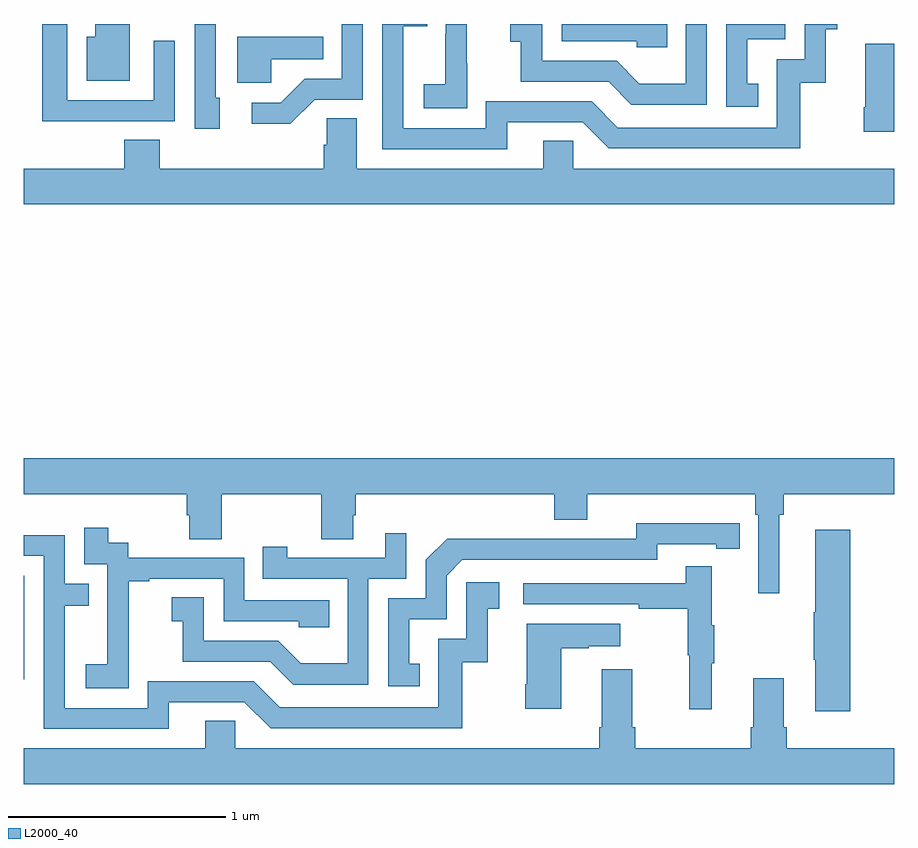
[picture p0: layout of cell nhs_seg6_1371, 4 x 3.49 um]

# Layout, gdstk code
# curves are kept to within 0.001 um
import gdstk
lib = gdstk.Library(unit=1e-6, precision=1e-09)
def R(c, l, rs):  # rectangles x0, y0, x1, y1
    for r in rs: c.add(gdstk.rectangle(r[:2], r[2:], *l))
def P(c, l, *ps):  # polygons
    for p in ps: c.add(gdstk.Polygon(p, *l))
L2000_40 = (2000, 40)

nhs_seg6_1371 = lib.new_cell('nhs_seg6_1371')
R(nhs_seg6_1371, L2000_40, [(195,942.489,195.003,942.966), (198.849,945.498,199,945.5)])
P(nhs_seg6_1371, L2000_40, [(197.221,945.048),(197.568,945.048),(197.688,944.928),(198.568,944.928),(198.568,945.231),(198.686,945.231),(198.686,945.477),(198.739,945.477),(198.739,945.5),(198.588,945.5),(198.588,945.339),(198.459,945.339),(198.459,945.024),(197.73,945.024),(197.61,945.144),(197.124,945.144),(197.124,945.021),(196.743,945.021),(196.743,945.49),(196.853,945.49),(196.853,945.5),(196.647,945.5),(196.647,944.925),(197.221,944.925)],
  [(195.901,945.162),(195.882,945.162),(195.882,945.466),(195.883,945.466),(195.883,945.5),(195.786,945.5),(195.786,945.018),(195.901,945.018)],
  [(197.957,945.5),(197.472,945.5),(197.472,945.42),(197.817,945.42),(197.817,945.393),(197.957,945.393)],
  [(197.037,945.319),(197.036,945.319),(197.036,945.5),(196.938,945.5),(196.938,945.452),(196.937,945.452),(196.937,945.223),(196.839,945.223),(196.839,945.113),(197.037,945.113)],
  [(196.338,945.153),(196.557,945.153),(196.557,945.5),(196.461,945.5),(196.461,945.249),(196.292,945.249),(196.181,945.138),(196.047,945.138),(196.047,945.041),(196.225,945.041)],
  [(198.138,945.5),(198.042,945.5),(198.042,945.226),(197.828,945.226),(197.724,945.33),(197.382,945.33),(197.382,945.5),(197.235,945.5),(197.235,945.419),(197.284,945.419),(197.284,945.234),(197.687,945.234),(197.792,945.129),(198.138,945.129)],
  [(195.487,945.5),(195.329,945.5),(195.329,945.442),(195.29,945.442),(195.29,945.239),(195.487,945.239)],
  [(198.374,945.225),(198.325,945.225),(198.325,945.429),(198.498,945.429),(198.498,945.5),(198.228,945.5),(198.228,945.12),(198.374,945.12)],
  [(195.377,945.054),(195.693,945.054),(195.693,945.424),(195.597,945.424),(195.597,945.15),(195.201,945.15),(195.201,945.5),(195.085,945.5),(195.085,945.053),(195.377,945.053)],
  [(196.137,945.338),(196.376,945.338),(196.376,945.442),(195.98,945.442),(195.98,945.23),(196.137,945.23)],
  [(199,945.409),(198.866,945.409),(198.866,945.118),(198.859,945.118),(198.859,945.006),(199,945.006)],
  [(196.392,945.068),(196.392,944.945),(196.379,944.945),(196.379,944.836),(195.626,944.836),(195.626,944.969),(195.461,944.969),(195.461,944.836),(195,944.836),(195,944.672),(199,944.672),(199,944.836),(197.526,944.836),(197.526,944.963),(197.387,944.963),(197.387,944.836),(196.531,944.836),(196.531,945.068)],
  [(198.472,943.244),(198.491,943.244),(198.491,943.34),(199,943.34),(199,943.504),(195,943.504),(195,943.34),(195.749,943.34),(195.749,943.242),(195.761,943.242),(195.761,943.132),(195.909,943.132),(195.909,943.34),(196.366,943.34),(196.366,943.132),(196.513,943.132),(196.513,943.242),(196.526,943.242),(196.526,943.34),(197.438,943.34),(197.438,943.223),(197.59,943.223),(197.59,943.34),(198.362,943.34),(198.362,943.244),(198.375,943.244),(198.375,942.885),(198.472,942.885)],
  [(196.82,942.561),(196.771,942.561),(196.771,942.765),(196.944,942.765),(196.944,942.966),(197.016,943.038),(197.91,943.038),(197.91,943.11),(198.182,943.11),(198.182,943.09),(198.29,943.09),(198.29,943.206),(197.814,943.207),(197.814,943.134),(197.354,943.134),(197.354,943.136),(196.946,943.136),(196.848,943.038),(196.848,942.861),(196.674,942.861),(196.674,942.456),(196.82,942.456)],
  [(195.483,942.655),(195.482,942.655),(195.482,942.939),(195.577,942.939),(195.577,942.951),(195.918,942.951),(195.918,942.756),(196.263,942.756),(196.263,942.729),(196.403,942.729),(196.403,942.852),(196.014,942.852),(196.014,943.047),(195.48,943.047),(195.48,943.116),(195.388,943.116),(195.388,943.186),(195.279,943.186),(195.279,943.017),(195.384,943.017),(195.384,942.788),(195.383,942.788),(195.383,942.559),(195.285,942.559),(195.285,942.449),(195.483,942.449)],
  [(198.797,943.177),(198.638,943.177),(198.638,942.797),(198.631,942.797),(198.631,942.58),(198.638,942.58),(198.638,942.342),(198.797,942.342)],
  [(196.584,942.951),(196.758,942.951),(196.758,943.159),(196.661,943.159),(196.661,943.047),(196.21,943.047),(196.21,943.099),(196.099,943.099),(196.099,942.951),(196.488,942.951),(196.488,942.562),(196.274,942.562),(196.17,942.666),(195.828,942.666),(195.828,942.865),(195.681,942.865),(195.681,942.755),(195.73,942.755),(195.73,942.57),(196.133,942.57),(196.238,942.465),(196.584,942.465)],
  [(195.667,942.384),(196.014,942.384),(196.134,942.264),(197.014,942.264),(197.014,942.567),(197.132,942.567),(197.132,942.813),(197.185,942.813),(197.185,942.934),(197.034,942.934),(197.034,942.675),(196.905,942.675),(196.905,942.36),(196.176,942.36),(196.056,942.48),(195.57,942.48),(195.57,942.357),(195.189,942.357),(195.189,942.826),(195.299,942.826),(195.299,942.927),(195.189,942.927),(195.189,943.152),(195,943.152),(195,943.056),(195.093,943.056),(195.093,942.261),(195.667,942.261)],
  [(198.161,942.563),(198.172,942.563),(198.172,942.737),(198.161,942.737),(198.161,943.009),(198.043,943.009),(198.043,942.93),(197.295,942.93),(197.295,942.834),(197.827,942.834),(197.827,942.814),(198.051,942.814),(198.051,942.6),(198.058,942.6),(198.058,942.351),(198.161,942.351)],
  [(197.47,942.631),(197.597,942.631),(197.597,942.641),(197.74,942.641),(197.74,942.745),(197.312,942.745),(197.312,942.466),(197.305,942.466),(197.305,942.354),(197.47,942.354)],
  [(199,942.172),(198.506,942.172),(198.506,942.268),(198.493,942.268),(198.493,942.493),(198.353,942.493),(198.353,942.268),(198.341,942.268),(198.341,942.172),(197.81,942.172),(197.81,942.268),(197.797,942.268),(197.797,942.535),(197.657,942.535),(197.657,942.268),(197.645,942.268),(197.645,942.172),(195.972,942.172),(195.972,942.299),(195.833,942.299),(195.833,942.172),(195,942.172),(195,942.008),(199,942.008)])

lib.write_gds('nhs_seg6_1371.gds')
